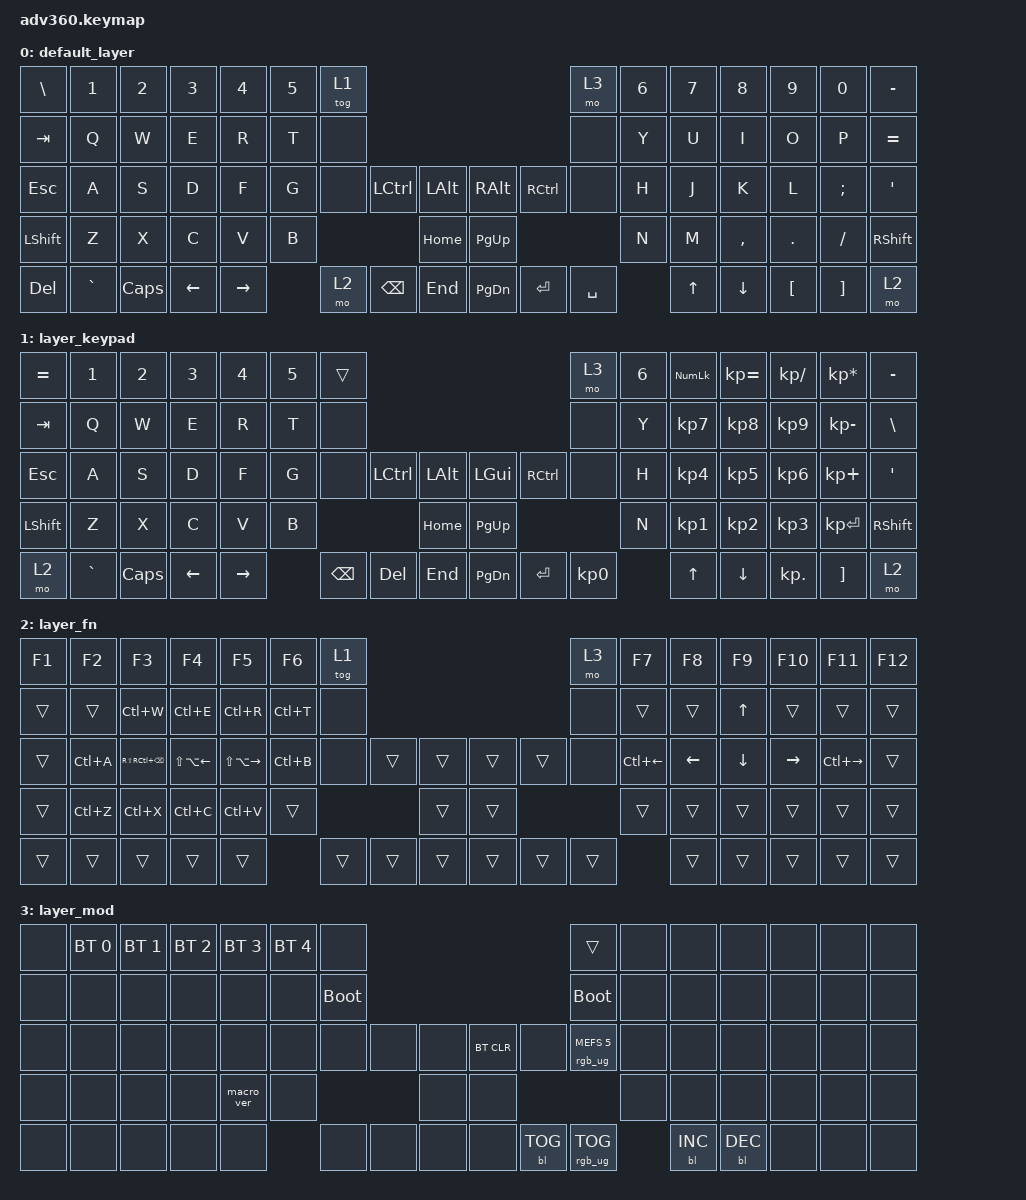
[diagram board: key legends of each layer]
/*
 * Copyright (c) 2020 The ZMK Contributors
 *
 * SPDX-License-Identifier: MIT
 */
/* THIS FILE WAS GENERATED!
 *
 * This file was generated automatically. You may or may not want to
 * edit it directly.
 */

#include <behaviors.dtsi>
#include <dt-bindings/zmk/backlight.h>
#include <dt-bindings/zmk/bt.h>
#include <dt-bindings/zmk/keys.h>
#include <dt-bindings/zmk/rgb.h>

/ {
    behaviors {
        #include "macros.dtsi"
    #include "version.dtsi"

        hm: homerow_mods {
            compatible = "zmk,behavior-hold-tap";
            label = "HOMEROW_MODS";
            #binding-cells = <2>;
            tapping-term-ms = <200>;
            quick_tap_ms = <175>;
            flavor = "tap-preferred";
            bindings = <&kp>, <&kp>;
        };
    };

    macros {
        select_all_macro: select_all_macro {
            compatible = "zmk,behavior-macro";
            #binding-cells = <0>;
            bindings =
                <&macro_press>,
                <&kp LCTRL>,
                <&macro_tap>,
                <&kp A>,
                <&macro_release>,
                <&kp LCTRL>;

            label = "SELECT_ALL_MACRO";
        };

        undo_macro: undo_macro {
            compatible = "zmk,behavior-macro";
            #binding-cells = <0>;
            bindings =
                <&macro_press>,
                <&kp LCTRL>,
                <&macro_tap>,
                <&kp Z>,
                <&macro_release>,
                <&kp LCTRL>;

            label = "UNDO_MACRO";
        };

        cut_macro: cut_macro {
            compatible = "zmk,behavior-macro";
            #binding-cells = <0>;
            bindings =
                <&macro_press>,
                <&kp LCTRL>,
                <&macro_tap>,
                <&kp X>,
                <&macro_release>,
                <&kp LCTRL>;

            label = "CUT_MACRO";
        };

        copy_macro: copy_macro {
            compatible = "zmk,behavior-macro";
            #binding-cells = <0>;
            bindings =
                <&macro_press>,
                <&kp LCTRL>,
                <&macro_tap>,
                <&kp C>,
                <&macro_release>,
                <&kp LCTRL>;

            label = "COPY_MACRO";
        };

        paste_macro: paste_macro {
            compatible = "zmk,behavior-macro";
            #binding-cells = <0>;
            bindings =
                <&macro_press>,
                <&kp LCTRL>,
                <&macro_tap>,
                <&kp V>,
                <&macro_release>,
                <&kp LCTRL>;

            label = "PASTE_MACRO";
        };

        last_change_macro: last_change_macro {
            compatible = "zmk,behavior-macro";
            #binding-cells = <0>;
            bindings =
                <&macro_press>,
                <&kp RSHIFT &kp RCTRL>,
                <&macro_tap>,
                <&kp BACKSPACE>,
                <&macro_release>,
                <&kp RIGHT_SHIFT &kp RCTRL>;

            label = "LAST_CHANGE_MACRO";
        };

        go_back_macro: go_back_macro {
            compatible = "zmk,behavior-macro";
            #binding-cells = <0>;
            bindings =
                <&macro_press>,
                <&kp LSHFT &kp LALT>,
                <&macro_tap>,
                <&kp LEFT>,
                <&macro_release>,
                <&kp LSHIFT &kp LALT>;

            label = "GO_BACK_MACRO";
        };

        go_forward_macro: go_forward_macro {
            compatible = "zmk,behavior-macro";
            #binding-cells = <0>;
            bindings =
                <&macro_press>,
                <&kp LSHFT &kp LALT>,
                <&macro_tap>,
                <&kp RIGHT>,
                <&macro_release>,
                <&kp LSHIFT &kp LALT>;

            label = "GO_FORWARD_MACRO";
        };

        jump_into_macro: jump_into_macro {
            compatible = "zmk,behavior-macro";
            #binding-cells = <0>;
            bindings =
                <&macro_press>,
                <&kp LCTRL>,
                <&macro_tap>,
                <&kp B>,
                <&macro_release>,
                <&kp LCTRL>;

            label = "JUMP_INTO_MACRO";
        };

        previous_word_macro: previous_word {
            compatible = "zmk,behavior-macro";
            #binding-cells = <0>;
            bindings =
                <&macro_press>,
                <&kp LCTRL>,
                <&macro_tap>,
                <&kp LEFT>,
                <&macro_release>,
                <&kp LCTRL>;

            label = "PREVIOUS_WORD";
        };

        next_word_macro: next_word_macro {
            compatible = "zmk,behavior-macro";
            #binding-cells = <0>;
            bindings =
                <&macro_press>,
                <&kp LCTRL>,
                <&macro_tap>,
                <&kp RIGHT>,
                <&macro_release>,
                <&kp LCTRL>;

            label = "NEXT_WORD_MACRO";
        };
    };

    keymap {
        compatible = "zmk,keymap";

        default_layer {
            bindings = <
&kp BACKSLASH  &kp N1     &kp N2    &kp N3    &kp N4     &kp N5  &tog 1                                                     &mo 3      &kp N6  &kp N7  &kp N8     &kp N9    &kp N0    &kp MINUS
&kp TAB        &kp Q      &kp W     &kp E     &kp R      &kp T   &none                                                      &none      &kp Y   &kp U   &kp I      &kp O     &kp P     &kp EQUAL
&kp ESC        &kp A      &kp S     &kp D     &kp F      &kp G   &none   &kp LCTRL      &kp LALT      &kp RALT   &kp RCTRL  &none      &kp H   &kp J   &kp K      &kp L     &kp SEMI  &kp SQT
&kp LSHFT      &kp Z      &kp X     &kp C     &kp V      &kp B                          &kp HOME      &kp PG_UP                        &kp N   &kp M   &kp COMMA  &kp DOT   &kp FSLH  &kp RSHFT
&kp DELETE     &kp GRAVE  &kp CAPS  &kp LEFT  &kp RIGHT          &mo 2   &kp BACKSPACE  &kp END       &kp PG_DN  &kp ENTER  &kp SPACE          &kp UP  &kp DOWN   &kp LBKT  &kp RBKT  &mo 2
            >;
        };

        layer_keypad {
            bindings = <
&kp EQUAL  &kp N1     &kp N2    &kp N3    &kp N4     &kp N5  &trans                                                   &mo 3      &kp N6  &kp KP_NUM  &kp KP_EQUAL  &kp KP_DIVIDE  &kp KP_MULTIPLY  &kp MINUS
&kp TAB    &kp Q      &kp W     &kp E     &kp R      &kp T   &none                                                    &none      &kp Y   &kp KP_N7   &kp KP_N8     &kp KP_N9      &kp KP_MINUS     &kp BSLH
&kp ESC    &kp A      &kp S     &kp D     &kp F      &kp G   &none     &kp LCTRL  &kp LALT      &kp LGUI   &kp RCTRL  &none      &kp H   &kp KP_N4   &kp KP_N5     &kp KP_N6      &kp KP_PLUS      &kp SQT
&kp LSHFT  &kp Z      &kp X     &kp C     &kp V      &kp B                        &kp HOME      &kp PG_UP                        &kp N   &kp KP_N1   &kp KP_N2     &kp KP_N3      &kp KP_ENTER     &kp RSHFT
&mo 2      &kp GRAVE  &kp CAPS  &kp LEFT  &kp RIGHT          &kp BSPC  &kp DEL    &kp END       &kp PG_DN  &kp ENTER  &kp KP_N0          &kp UP      &kp DOWN      &kp KP_DOT     &kp RBKT         &mo 2
            >;
        };

        layer_fn {
            bindings = <
&kp F1  &kp F2     &kp F3                 &kp F4            &kp F5             &kp F6     &tog 1                                      &mo 3   &kp F7        &kp F8    &kp F9          &kp F10    &kp F11        &kp F12
&trans  &trans     &kp LC(W)              &kp LC(E)         &kp LC(R)          &kp LC(T)  &none                                       &none   &trans        &trans    &kp UP_ARROW    &trans     &trans         &trans
&trans  &kp LC(A)  &kp RS(RC(BACKSPACE))  &kp LS(LA(LEFT))  &kp LS(LA(RIGHT))  &kp LC(B)  &none   &trans  &trans      &trans  &trans  &none   &kp LC(LEFT)  &kp LEFT  &kp DOWN_ARROW  &kp RIGHT  &kp LC(RIGHT)  &trans
&trans  &kp LC(Z)  &kp LC(X)              &kp LC(C)         &kp LC(V)          &trans                     &trans      &trans                  &trans        &trans    &trans          &trans     &trans         &trans
&trans  &trans     &trans                 &trans            &trans                        &trans  &trans  &trans      &trans  &trans  &trans                &trans    &trans          &trans     &trans         &trans
            >;
        };

        layer_mod {
            bindings = <
&none  &bt BT_SEL 0  &bt BT_SEL 1  &bt BT_SEL 2  &bt BT_SEL 3  &bt BT_SEL 4  &none                                                  &trans                  &none  &none       &none       &none  &none  &none
&none  &none         &none         &none         &none         &none         &bootloader                                            &bootloader             &none  &none       &none       &none  &none  &none
&none  &none         &none         &none         &none         &none         &none        &none  &none      &bt BT_CLR  &none       &rgb_ug RGB_MEFS_CMD 5  &none  &none       &none       &none  &none  &none
&none  &none         &none         &none         &macro_ver    &none                             &none      &none                                           &none  &none       &none       &none  &none  &none
&none  &none         &none         &none         &none                       &none        &none  &none      &none       &bl BL_TOG  &rgb_ug RGB_TOG                &bl BL_INC  &bl BL_DEC  &none  &none  &none
            >;
        };
    };
};
